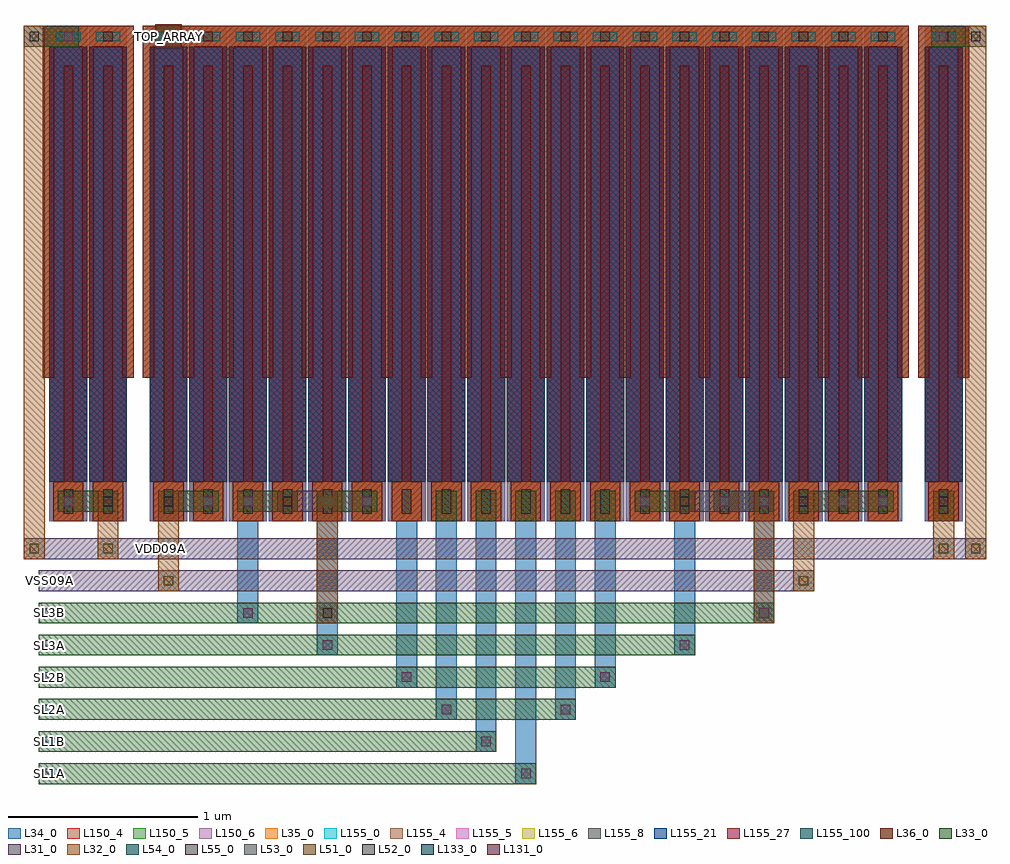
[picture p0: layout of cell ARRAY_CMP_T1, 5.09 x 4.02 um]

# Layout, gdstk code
from math import pi, radians
import gdstk
lib = gdstk.Library(unit=1e-6, precision=1e-09)
def R(c, l, rs):  # rectangles x0, y0, x1, y1
    for r in rs: c.add(gdstk.rectangle(r[:2], r[2:], *l))
def A(c, l, x, y, w, h, nx, ny, dx, dy):  # array of equal rectangles
    R(c, l, [(x+i*dx, y+j*dy, x+i*dx+w, y+j*dy+h) for i in range(nx) for j in range(ny)])
L31_0 = (31, 0)
L32_0 = (32, 0)
L33_0 = (33, 0)
L34_0 = (34, 0)
L35_0 = (35, 0)
L36_0 = (36, 0)
L51_0 = (51, 0)
L52_0 = (52, 0)
L53_0 = (53, 0)
L54_0 = (54, 0)
L55_0 = (55, 0)
L131_0 = (131, 0)
L133_0 = (133, 0)
L150_4 = (150, 4)
L150_5 = (150, 5)
L150_6 = (150, 6)
L155_0 = (155, 0)
L155_4 = (155, 4)
L155_5 = (155, 5)
L155_6 = (155, 6)
L155_8 = (155, 8)
L155_21 = (155, 21)
L155_27 = (155, 27)
L155_100 = (155, 100)

m5_m4_cdns_621961077976 = lib.new_cell('M5_M4_CDNS_621961077976')
R(m5_m4_cdns_621961077976, L34_0, [(-0.07,-0.105,0.07,0.105)])
R(m5_m4_cdns_621961077976, L35_0, [(-0.07,-0.105,0.07,0.105)])
R(m5_m4_cdns_621961077976, L54_0, [(-0.025,-0.065,0.025,0.065)])

m6_m5_cdns_621961077977 = lib.new_cell('M6_M5_CDNS_621961077977')
R(m6_m5_cdns_621961077977, L35_0, [(-0.07,-0.105,0.07,0.105)])
R(m6_m5_cdns_621961077977, L36_0, [(-0.055,-0.105,0.055,0.105)])
R(m6_m5_cdns_621961077977, L55_0, [(-0.025,-0.065,0.025,0.065)])

m5_m4_cdns_621961077978 = lib.new_cell('M5_M4_CDNS_621961077978')
R(m5_m4_cdns_621961077978, L34_0, [(-0.095,-0.055,0.095,0.055)])
R(m5_m4_cdns_621961077978, L35_0, [(-0.12,-0.055,0.12,0.055)])
R(m5_m4_cdns_621961077978, L54_0, [(-0.065,-0.025,0.065,0.025)])

m6_m5_cdns_621961077979 = lib.new_cell('M6_M5_CDNS_621961077979')
R(m6_m5_cdns_621961077979, L35_0, [(-0.055,-0.055,0.055,0.055)])
R(m6_m5_cdns_621961077979, L36_0, [(-0.055,-0.055,0.055,0.055)])
R(m6_m5_cdns_621961077979, L55_0, [(-0.025,-0.025,0.025,0.025)])

cu1f = lib.new_cell('CU1F')
R(cu1f, L34_0, [(0.02,0,0.18,0.21), (-0.035,2.51,0.235,2.62)])
R(cu1f, L35_0, [(0.02,0,0.18,0.21), (-0.035,2.51,0.235,2.62)])
R(cu1f, L36_0, [(0.02,0,0.18,0.21), (-0.035,2.51,0.235,2.62)])
R(cu1f, L150_4, [(0,0,0.2,2.62)])
R(cu1f, L150_5, [(0,0,0.2,2.62)])
R(cu1f, L150_6, [(0,0,0.2,2.62)])
R(cu1f, L155_0, [(0,0.21,0.2,2.51)])
R(cu1f, L155_4, [(0,0.21,0.2,2.51)])
R(cu1f, L155_5, [(0,0.21,0.2,2.51)])
R(cu1f, L155_6, [(0,0.21,0.2,2.51)])
R(cu1f, L155_8, [(0,0.21,0.2,2.51)])
R(cu1f, L155_21, [(0,0.21,0.2,2.51)])
R(cu1f, L155_27, [(0,0.21,0.2,2.51)])
R(cu1f, L155_100, [(0,0.21,0.2,2.51)])
cu1f.add(gdstk.FlexPath([(0.205,2.59),(0.205,0.76)], 0.06, ends=(0.03, 0), simple_path=True, layer=34, datatype=0))  # L34_0
cu1f.add(gdstk.FlexPath([(0.1,2.41),(0.1,0)], 0.05, ends="flush", simple_path=True, layer=34, datatype=0))  # L34_0
cu1f.add(gdstk.FlexPath([(-0.005,2.59),(-0.005,0.76)], 0.06, ends=(0.03, 0), simple_path=True, layer=34, datatype=0))  # L34_0
cu1f.add(gdstk.FlexPath([(0.205,0.76),(0.205,2.59)], 0.06, ends=(0, 0.03), simple_path=True, layer=35, datatype=0))  # L35_0
cu1f.add(gdstk.FlexPath([(0.1,2.41),(0.1,0)], 0.05, ends="flush", simple_path=True, layer=35, datatype=0))  # L35_0
cu1f.add(gdstk.FlexPath([(-0.005,0.76),(-0.005,2.59)], 0.06, ends=(0, 0.03), simple_path=True, layer=35, datatype=0))  # L35_0
cu1f.add(gdstk.FlexPath([(0.205,0.76),(0.205,2.59)], 0.06, ends=(0, 0.03), simple_path=True, layer=36, datatype=0))  # L36_0
cu1f.add(gdstk.FlexPath([(0.1,2.41),(0.1,0)], 0.05, ends="flush", simple_path=True, layer=36, datatype=0))  # L36_0
cu1f.add(gdstk.FlexPath([(-0.005,0.76),(-0.005,2.59)], 0.06, ends=(0, 0.03), simple_path=True, layer=36, datatype=0))  # L36_0
cu1f.add(gdstk.Reference(m5_m4_cdns_621961077976, (0.1,0.105), rotation=pi, x_reflection=True))
cu1f.add(gdstk.Reference(m6_m5_cdns_621961077977, (0.1,0.105), rotation=pi, x_reflection=True))
cu1f.add(gdstk.Reference(m5_m4_cdns_621961077978, (0.1,2.565)))
cu1f.add(gdstk.Reference(m6_m5_cdns_621961077979, (0.1,2.565)))

m2_m1_cdns_621961077970 = lib.new_cell('M2_M1_CDNS_621961077970')
R(m2_m1_cdns_621961077970, L31_0, [(-0.055,-0.055,0.055,0.055)])
R(m2_m1_cdns_621961077970, L32_0, [(-0.055,-0.055,0.055,0.055)])
R(m2_m1_cdns_621961077970, L51_0, [(-0.025,-0.025,0.025,0.025)])

m3_m2_cdns_621961077971 = lib.new_cell('M3_M2_CDNS_621961077971')
R(m3_m2_cdns_621961077971, L32_0, [(-0.055,-0.055,0.055,0.055)])
R(m3_m2_cdns_621961077971, L33_0, [(-0.055,-0.055,0.055,0.055)])
R(m3_m2_cdns_621961077971, L52_0, [(-0.025,-0.025,0.025,0.025)])

m4_m3_cdns_621961077972 = lib.new_cell('M4_M3_CDNS_621961077972')
R(m4_m3_cdns_621961077972, L33_0, [(-0.055,-0.055,0.055,0.055)])
R(m4_m3_cdns_621961077972, L34_0, [(-0.055,-0.055,0.055,0.055)])
R(m4_m3_cdns_621961077972, L53_0, [(-0.025,-0.025,0.025,0.025)])

m4_m3_cdns_621961077973 = lib.new_cell('M4_M3_CDNS_621961077973')
R(m4_m3_cdns_621961077973, L33_0, [(-0.07,-0.065,0.07,0.065)])
R(m4_m3_cdns_621961077973, L34_0, [(-0.055,-0.055,0.055,0.055)])
R(m4_m3_cdns_621961077973, L53_0, [(-0.025,-0.025,0.025,0.025)])

m3_m2_cdns_621961077974 = lib.new_cell('M3_M2_CDNS_621961077974')
R(m3_m2_cdns_621961077974, L32_0, [(-0.065,-0.06,0.065,0.06)])
R(m3_m2_cdns_621961077974, L33_0, [(-0.07,-0.065,0.07,0.065)])
R(m3_m2_cdns_621961077974, L52_0, [(-0.025,-0.025,0.025,0.025)])

m2_m1_cdns_621961077975 = lib.new_cell('M2_M1_CDNS_621961077975')
R(m2_m1_cdns_621961077975, L31_0, [(-0.055,-0.055,0.055,0.055)])
R(m2_m1_cdns_621961077975, L32_0, [(-0.065,-0.06,0.065,0.06)])
R(m2_m1_cdns_621961077975, L51_0, [(-0.025,-0.025,0.025,0.025)])

array_cmp_t1 = lib.new_cell('ARRAY_CMP_T1')
R(array_cmp_t1, L31_0, [(-0.055,-0.37,4.045,-0.26), (-0.135,-0.2,4.955,-0.09), (1.205,0.05,1.525,0.16), (3.305,0.05,3.835,0.16), (0.56,2.5,0.7,2.63)])
R(array_cmp_t1, L32_0, [(1.415,-0.54,1.525,0.16), (3.725,-0.54,3.835,0.16), (0.575,-0.37,0.685,0.16), (3.935,-0.37,4.045,0.16), (-0.135,-0.2,-0.025,2.62), (0.255,-0.2,0.365,0.16), (4.675,-0.2,4.785,0.16), (4.845,-0.2,4.955,2.62)])
A(array_cmp_t1, L33_0, 2.045, 0, 0.11, 0.16, 5, 1, 0.21, 0)
A(array_cmp_t1, L33_0, 0.575, 0.05, 0.32, 0.11, 3, 1, 0.42, 0)
R(array_cmp_t1, L33_0, [(-0.055,-1.39,2.575,-1.28), (-0.055,-1.22,2.365,-1.11), (-0.055,-1.05,2.785,-0.94), (-0.055,-0.88,2.995,-0.77), (-0.055,-0.71,3.415,-0.6), (-0.055,-0.54,3.835,-0.43), (4.675,0,4.785,0.16), (0.045,0.05,0.365,0.16), (3.095,0.05,3.415,0.16), (3.515,0.05,3.835,0.16), (3.935,0.05,4.465,0.16), (-0.135,2.51,0.155,2.62), (4.665,2.51,4.955,2.62)])
R(array_cmp_t1, L34_0, [(2.465,-1.39,2.575,0.16), (2.255,-1.22,2.365,0.16), (2.045,-1.05,2.155,0.16), (2.675,-1.05,2.785,0.16), (1.835,-0.88,1.945,0.16), (2.885,-0.88,2.995,0.16), (1.415,-0.71,1.525,0.16), (3.305,-0.71,3.415,0.16), (0.995,-0.54,1.105,0.16), (3.725,-0.54,3.835,0.16)])
R(array_cmp_t1, L131_0, [(-0.025,-0.34,0.025,-0.29), (0.565,-0.17,0.615,-0.12), (0.605,2.54,0.655,2.59)])
A(array_cmp_t1, L133_0, -0.025, -1.36, 0.05, 0.05, 1, 6, 0, 0.17)
array_cmp_t1.add(gdstk.Reference(cu1f, (0,0)))
array_cmp_t1.add(gdstk.Reference(cu1f, (0.21,0)))
array_cmp_t1.add(gdstk.Reference(cu1f, (0.53,0)))
array_cmp_t1.add(gdstk.Reference(cu1f, (0.74,0)))
array_cmp_t1.add(gdstk.Reference(cu1f, (4.63,0)))
array_cmp_t1.add(gdstk.Reference(cu1f, (4.31,0)))
array_cmp_t1.add(gdstk.Reference(cu1f, (4.1,0)))
array_cmp_t1.add(gdstk.Reference(cu1f, (3.89,0)))
array_cmp_t1.add(gdstk.Reference(cu1f, (3.68,0)))
array_cmp_t1.add(gdstk.Reference(cu1f, (3.47,0)))
array_cmp_t1.add(gdstk.Reference(cu1f, (3.26,0)))
array_cmp_t1.add(gdstk.Reference(cu1f, (3.05,0)))
array_cmp_t1.add(gdstk.Reference(cu1f, (2.84,0)))
array_cmp_t1.add(gdstk.Reference(cu1f, (2.63,0)))
array_cmp_t1.add(gdstk.Reference(cu1f, (2.42,0)))
array_cmp_t1.add(gdstk.Reference(cu1f, (2.21,0)))
array_cmp_t1.add(gdstk.Reference(cu1f, (2,0)))
array_cmp_t1.add(gdstk.Reference(cu1f, (1.79,0)))
array_cmp_t1.add(gdstk.Reference(cu1f, (1.58,0)))
array_cmp_t1.add(gdstk.Reference(cu1f, (1.37,0)))
array_cmp_t1.add(gdstk.Reference(cu1f, (1.16,0)))
array_cmp_t1.add(gdstk.Reference(cu1f, (0.95,0)))
array_cmp_t1.add(gdstk.Reference(m2_m1_cdns_621961077970, (4.9,-0.145)))
array_cmp_t1.add(gdstk.Reference(m2_m1_cdns_621961077970, (-0.08,-0.145)))
array_cmp_t1.add(gdstk.Reference(m2_m1_cdns_621961077970, (1.47,0.105)))
array_cmp_t1.add(gdstk.Reference(m2_m1_cdns_621961077970, (1.26,0.105)))
array_cmp_t1.add(gdstk.Reference(m2_m1_cdns_621961077970, (3.36,0.105)))
array_cmp_t1.add(gdstk.Reference(m2_m1_cdns_621961077970, (4.73,-0.145)))
array_cmp_t1.add(gdstk.Reference(m2_m1_cdns_621961077970, (0.31,-0.145)))
array_cmp_t1.add(gdstk.Reference(m2_m1_cdns_621961077970, (3.99,-0.315)))
array_cmp_t1.add(gdstk.Reference(m2_m1_cdns_621961077970, (0.63,-0.315)))
array_cmp_t1.add(gdstk.Reference(m3_m2_cdns_621961077971, (4.9,2.565)))
array_cmp_t1.add(gdstk.Reference(m3_m2_cdns_621961077971, (-0.08,2.565)))
array_cmp_t1.add(gdstk.Reference(m3_m2_cdns_621961077971, (3.36,0.105)))
array_cmp_t1.add(gdstk.Reference(m3_m2_cdns_621961077971, (1.47,-0.485)))
array_cmp_t1.add(gdstk.Reference(m3_m2_cdns_621961077971, (1.26,0.105)))
array_cmp_t1.add(gdstk.Reference(m3_m2_cdns_621961077971, (4.73,0.105)))
array_cmp_t1.add(gdstk.Reference(m3_m2_cdns_621961077971, (3.99,0.105)))
array_cmp_t1.add(gdstk.Reference(m3_m2_cdns_621961077971, (0.63,0.105)))
array_cmp_t1.add(gdstk.Reference(m3_m2_cdns_621961077971, (0.31,0.105)))
array_cmp_t1.add(gdstk.Reference(m4_m3_cdns_621961077972, (3.78,-0.485)))
array_cmp_t1.add(gdstk.Reference(m4_m3_cdns_621961077972, (4.72,2.565), rotation=pi, x_reflection=True))
array_cmp_t1.add(gdstk.Reference(m4_m3_cdns_621961077972, (0.1,2.565)))
array_cmp_t1.add(gdstk.Reference(m4_m3_cdns_621961077972, (2.94,-0.825)))
array_cmp_t1.add(gdstk.Reference(m4_m3_cdns_621961077972, (1.26,0.105)))
array_cmp_t1.add(gdstk.Reference(m4_m3_cdns_621961077972, (1.89,-0.825)))
array_cmp_t1.add(gdstk.Reference(m4_m3_cdns_621961077972, (1.68,0.105)))
array_cmp_t1.add(gdstk.Reference(m4_m3_cdns_621961077972, (3.78,0.105)))
array_cmp_t1.add(gdstk.Reference(m4_m3_cdns_621961077972, (1.47,-0.655)))
array_cmp_t1.add(gdstk.Reference(m4_m3_cdns_621961077972, (3.15,0.105)))
array_cmp_t1.add(gdstk.Reference(m4_m3_cdns_621961077972, (3.57,0.105)))
array_cmp_t1.add(gdstk.Reference(m4_m3_cdns_621961077972, (3.36,0.105)))
array_cmp_t1.add(gdstk.Reference(m4_m3_cdns_621961077972, (2.73,-0.995)))
array_cmp_t1.add(gdstk.Reference(m4_m3_cdns_621961077972, (4.73,0.105)))
array_cmp_t1.add(gdstk.Reference(m4_m3_cdns_621961077972, (4.2,0.105)))
array_cmp_t1.add(gdstk.Reference(m4_m3_cdns_621961077972, (4.41,0.105)))
array_cmp_t1.add(gdstk.Reference(m4_m3_cdns_621961077972, (3.99,0.105)))
array_cmp_t1.add(gdstk.Reference(m4_m3_cdns_621961077972, (0.84,0.105)))
array_cmp_t1.add(gdstk.Reference(m4_m3_cdns_621961077972, (0.63,0.105)))
array_cmp_t1.add(gdstk.Reference(m4_m3_cdns_621961077972, (0.1,0.105)))
array_cmp_t1.add(gdstk.Reference(m4_m3_cdns_621961077972, (0.31,0.105)))
array_cmp_t1.add(gdstk.Reference(m4_m3_cdns_621961077972, (1.05,-0.485)))
array_cmp_t1.add(gdstk.Reference(m4_m3_cdns_621961077972, (2.31,-1.165)))
array_cmp_t1.add(gdstk.Reference(m4_m3_cdns_621961077972, (2.52,-1.335)))
array_cmp_t1.add(gdstk.Reference(m4_m3_cdns_621961077972, (3.36,-0.655)))
array_cmp_t1.add(gdstk.Reference(m4_m3_cdns_621961077972, (1.47,0.105)))
array_cmp_t1.add(gdstk.Reference(m4_m3_cdns_621961077972, (1.05,0.105)))
array_cmp_t1.add(gdstk.Reference(m4_m3_cdns_621961077972, (2.1,-0.995)))
array_cmp_t1.add(gdstk.Reference(m4_m3_cdns_621961077973, (0.63,2.565)))
array_cmp_t1.add(gdstk.Reference(m3_m2_cdns_621961077974, (0.63,2.565)))
array_cmp_t1.add(gdstk.Reference(m2_m1_cdns_621961077975, (0.63,2.565)))
array_cmp_t1.add(gdstk.Label('SL3A', (0,-0.655), layer=133, texttype=0))
array_cmp_t1.add(gdstk.Label('SL1A', (0,-1.335), layer=133, texttype=0))
array_cmp_t1.add(gdstk.Label('SL3B', (0,-0.485), layer=133, texttype=0))
array_cmp_t1.add(gdstk.Label('SL2A', (0,-0.995), layer=133, texttype=0))
array_cmp_t1.add(gdstk.Label('SL1B', (0,-1.165), layer=133, texttype=0))
array_cmp_t1.add(gdstk.Label('SL2B', (0,-0.825), layer=133, texttype=0))
array_cmp_t1.add(gdstk.Label('VDD09A', (0.59,-0.145), layer=131, texttype=0))
array_cmp_t1.add(gdstk.Label('VSS09A', (0,-0.315), layer=131, texttype=0))
array_cmp_t1.add(gdstk.Label('TOP_ARRAY', (0.628,2.565), layer=131, texttype=0))

lib.write_gds('ARRAY_CMP_T1.gds')
